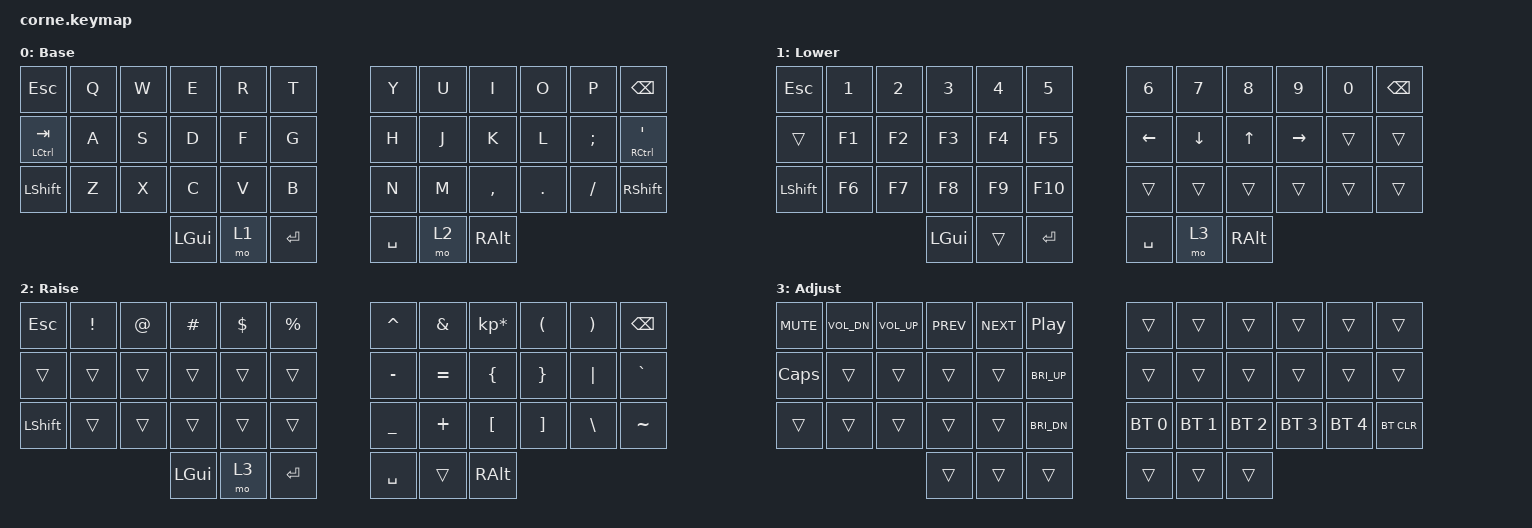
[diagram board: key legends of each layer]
/*
 * Copyright (c) 2020 The ZMK Contributors
 *
 * SPDX-License-Identifier: MIT
 */

#include <behaviors.dtsi>
#include <dt-bindings/zmk/keys.h>
#include <dt-bindings/zmk/bt.h>

/ {
        keymap {
                compatible = "zmk,keymap";

                default_layer {
// -----------------------------------------------------------------------------------------
// |  ESC |  Q  |  W  |  E  |  R  |  T  |   |  Y  |  U   |  I  |  O  |  P  | BKSP |
// |CTL/TB|  A  |  S  |  D  |  F  |  G  |   |  H  |  J   |  K  |  L  |  ;  | CTL/'|
// | SHFT |  Z  |  X  |  C  |  V  |  B  |   |  N  |  M   |  ,  |  .  |  /  | SHFT |
//                    | GUI | LWR | ENT |   | SPC | RSE  | ALT |
                        label = "Base";
                        bindings = <
   &kp ESC   &kp Q &kp W &kp E &kp R &kp T        &kp Y &kp U  &kp I     &kp O   &kp P    &kp BSPC
   &mt LCTRL TAB &kp A &kp S &kp D &kp F &kp G    &kp H &kp J  &kp K     &kp L   &kp SEMI &mt RCTRL SQT
   &kp LSHFT &kp Z &kp X &kp C &kp V &kp B        &kp N &kp M  &kp COMMA &kp DOT &kp FSLH &kp RSHIFT
                  &kp LGUI &mo 1 &kp RET          &kp SPACE &mo 2 &kp RALT
                        >;
                };
                lower_layer {
// -----------------------------------------------------------------------------------------
// |  ESC |  1  |  2  |  3  |  4  |  5  |   |  6  |  7  |  8  |  9  |  0  | BKSP |
// |      | F1  | F2  | F3  | F4  | F5  |   | LFT | DWN |  UP | RGT |     |      |
// | SHFT | F6  | F7  | F8  | F9  | F10 |   |     |     |     |     |     |      |
//                    | GUI | LWR | ENT |   | SPC | RSE | ALT |
                        label = "Lower";
                        bindings = <
   &kp ESC    &kp N1       &kp N2       &kp N3         &kp N4 &kp N5 &kp N6 &kp N7 &kp N8 &kp N9 &kp N0 &kp BSPC
   &trans &kp F1 &kp F2 &kp F3 &kp F4 &kp F5           &kp LEFT &kp DOWN &kp UP &kp RIGHT &trans &trans
   &kp LSHFT  &kp F6 &kp F7 &kp F8 &kp F9 &kp F10      &trans &trans &trans &trans &trans &trans
                            &kp LGUI &trans &kp RET    &kp SPACE &mo 3 &kp RALT
                        >;
                };

                raise_layer {
// -----------------------------------------------------------------------------------------
// |  ESC |  !  |  @  |  #  |  $  |  %  |   |  ^  |  &  |  *  |  (  |  )  | BKSP |
// |      |     |     |     |     |     |   |  -  |  =  |  {  |  }  | "|" |  `   |
// | SHFT |     |     |     |     |     |   |  _  |  +  |  [  |  ]  |  \  |  ~   |
//                    | GUI | ADJ | ENT |   | SPC | ADJ | ALT |
                        label = "Raise";
                        bindings = <
   &kp  ESC  &kp EXCL &kp AT &kp HASH &kp DLLR &kp PRCNT      &kp CARET &kp AMPS  &kp KP_MULTIPLY &kp LPAR &kp RPAR &kp BSPC
   &trans &trans &trans &trans &trans &trans                  &kp MINUS &kp EQUAL &kp LBRC &kp RBRC  &kp PIPE &kp GRAVE
   &kp LSHIFT &trans &trans &trans &trans &trans              &kp UNDER &kp PLUS  &kp LBKT &kp RBKT &kp BSLH &kp TILDE
                    	           &kp LGUI &mo 3 &kp RET     &kp SPACE  &trans  &kp RALT
                        >;
                };
                adjust_layer {
// -----------------------------------------------------------------------------------------
// | MUTE |VOLDN|VOLUP| PREV| NEXT| PLAY|   |     |     |     |     |     |      |
// | CAPS |     |     |     |     | BRIU|   |     |     |     |     |     |      |
// |      |     |     |     |     | BRID|   | BT1 | BT2 | BT3 | BT4 | BT5 | BTCLR|
//                    | GUI |     | ENT |   | SPC |     | ALT |
                        label = "Adjust";
                        bindings = <
   &kp C_MUTE  &kp C_VOL_DN  &kp C_VOL_UP  &kp C_PREV  &kp C_NEXT &kp C_PP     &trans &trans &trans &trans &trans &trans 
   &kp CAPS &trans &trans &trans &trans &kp C_BRI_UP                             &trans &trans &trans &trans &trans &trans
   &trans &trans  &trans &trans  &trans &kp C_BRI_DN                         &bt BT_SEL 0 &bt BT_SEL 1 &bt BT_SEL 2 &bt BT_SEL 3 &bt BT_SEL 4 &bt BT_CLR
                                        &trans &trans &trans                   &trans &trans &trans
                        >;
                };
        };
};
